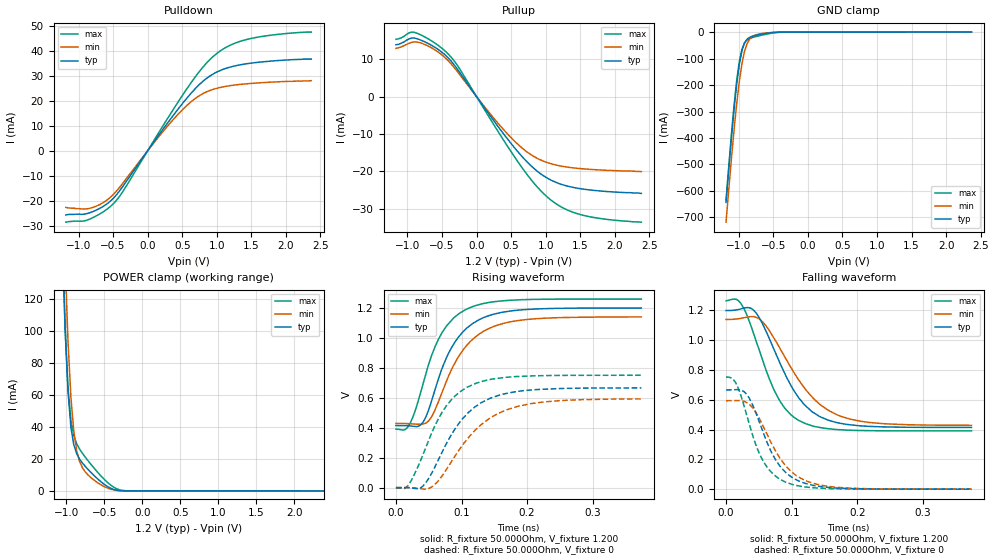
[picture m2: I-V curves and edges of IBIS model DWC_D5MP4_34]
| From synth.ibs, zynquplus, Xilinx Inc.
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[Model] DWC_D5MP4_34
Model_type   I/O
Polarity   Non-Inverting
Enable   Active-High
C_comp   1.540pF   1.512pF   1.579pF
C_comp_pullup   286.528fF   273.011fF   307.670fF
C_comp_pulldown 1.252pF   1.239pF   1.270pF
Vinh = 903.000mV
Vinl = 783.000mV
Vmeas = 843.000mV
Vref = 843.000mV
Rref = 50Ohms
Cref = 0pF
[Model Spec]
Vinh   903.000mV   861.000mV   945.000mV
Vinl   783.000mV   741.000mV   825.000mV
Vmeas   843.000mV   801.000mV   885.000mV
Vref   843.000mV   801.000mV   885.000mV
D_overshoot_ampl_h 0.24 NA   NA
D_overshoot_ampl_l 0.24 NA   NA
D_overshoot_area_l 300.000m NA   NA
D_overshoot_area_h 300.000m NA   NA
[Temperature Range]   25.000   100.000   0.00
[Voltage Range]   1.200V   1.140V   1.260V
[GND Clamp Reference]   0.00V   0.00V   0.00V
[Pulldown Reference]   0.00V   0.00V   0.00V
[POWER Clamp Reference]   1.200V   1.140V   1.260V
[Pullup Reference]   1.200V   1.140V   1.260V
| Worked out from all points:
|   slope of the pulldown table from 0 to 0.18 V, typ, clamps not added: 25.7 ohm
|   slope of the pullup table from 0 to 0.18 V, typ, clamps not added: 38.5 ohm
|   GND clamp passes 1 mA (typ) near -0.48 V on its own axis
|   POWER clamp passes 1 mA (typ) near -0.38 V on its own axis
|   rising waveform, R_fixture 50.000Ohm, V_fixture 1.200: 20-80 % time 49ps typ, 54.3ps min, 45.2ps max; typ from 0.414 V to 1.2 V
|   rising waveform, R_fixture 50.000Ohm, V_fixture 0: 20-80 % time 59.6ps typ, 70.5ps min, 52.7ps max; typ from 0 V to 0.665 V
|   falling waveform, R_fixture 50.000Ohm, V_fixture 1.200: 20-80 % time 55.6ps typ, 67.1ps min, 47.5ps max; typ from 1.2 V to 0.414 V
|   falling waveform, R_fixture 50.000Ohm, V_fixture 0: 20-80 % time 42.6ps typ, 48.6ps min, 37.6ps max; typ from 0.665 V to 0 V
[GND Clamp]
-1.184V   -643.3mA   -718.1mA   -633.9mA
-1.107V   -401.1mA   -479.8mA   -388.8mA
-1.069V   -292.7mA   -371.1mA   -279.6mA
-1.031V   -198mA     -272.6mA   -185.2mA
-992.7mV  -122.3mA   -188mA     -112.1mA
-954.6mV  -70.18mA   -120.5mA   -64.94mA
-916.4mV  -40.53mA   -72.43mA   -40.46mA
-878.2mV  -26.1mA    -42.39mA   -29.31mA
-801.8mV  -15.32mA   -16.62mA   -20.35mA
-649.1mV  -6.653mA   -4.833mA   -10.51mA
-343.6mV  -24.65uA   -26.5uA    -117.7uA
2.367V    135.4uA    116.7uA    159.5uA
[Power Clamp]
-1.167V   437.4mA    483mA      436.8mA
-1.053V   163.3mA    211.2mA    161.1mA
-1.015V   102.3mA    144.2mA    102mA
-976.4mV  62.04mA    93.24mA    64.24mA
-938.2mV  39.75mA    58.39mA    44.15mA
-900mV    28.75mA    37.07mA    34.47mA
-861.8mV  23.16mA    25mA       29.42mA
-823.6mV  19.8mA     18.29mA    26.1mA
-594.5mV  7.811mA    5.326mA    12.03mA
-403.6mV  1.362mA    856.6uA    3.175mA
-250.9mV  26.04uA    29.15uA    171.9uA
2.384V    -67.71uA   -61.29uA   -75.76uA
[Pulldown]
-1.184V   -25.6mA    -22.6mA    -28.5mA
-916.4mV  -25.3mA    -23.22mA   -28.01mA
-801.8mV  -24.37mA   -22.69mA   -26.81mA
-610.9mV  -21.63mA   -20.11mA   -23.76mA
-458.2mV  -17.81mA   -16.3mA    -19.99mA
190.9mV   7.417mA    6.642mA    8.601mA
496.4mV   18.6mA     16.2mA     21.83mA
725.5mV   25.84mA    21.6mA     30.83mA
992.7mV   31.33mA    24.89mA    38.69mA
1.222V    33.63mA    26.12mA    42.5mA
1.489V    34.98mA    26.89mA    44.81mA
2.367V    36.6mA     28mA       47.4mA
[Pullup]
-1.167V   13.9mA     12.91mA    15.34mA
-900mV    15.68mA    14.66mA    17.21mA
-632.7mV  13.55mA    12.87mA    14.7mA
-403.6mV  10.25mA    9.495mA    11.29mA
-250.9mV  6.646mA    6.072mA    7.621mA
207.3mV   -5.378mA   -4.827mA   -6.255mA
550.9mV   -13.72mA   -11.94mA   -16.16mA
818.2mV   -19.01mA   -15.89mA   -22.88mA
1.085V    -22.42mA   -18mA      -27.81mA
1.276V    -23.75mA   -18.75mA   -30.02mA
1.544V    -24.75mA   -19.32mA   -31.76mA
2.384V    -25.9mA    -20.06mA   -33.6mA
[Ramp]
R_load=50.000Ohm
dV/dt_r   435.000mV/55.500ps  390.960mV/63.500ps  485.160mV/50.000ps
dV/dt_f   435.000mV/50.500ps  390.960mV/59.000ps  485.160mV/44.000ps
[Rising waveform]
R_fixture=50.000Ohm
V_fixture=1.200
V_fixture_min=1.140
V_fixture_max=1.260
0s        414.1mV    428.3mV    390.5mV
20ps      412.6mV    426.9mV    417.6mV
41ps      435.1mV    424.2mV    688.7mV
55ps      587.6mV    477.1mV    888.9mV
70ps      791.5mV    632.5mV    1.032V
87ps      950.9mV    808.1mV    1.128V
105ps     1.052V     933.8mV    1.185V
133ps     1.133V     1.042V     1.228V
175ps     1.179V     1.107V     1.25V
374ps     1.199V     1.139V     1.258V
[Rising waveform]
R_fixture=50.000Ohm
V_fixture=0
0s        218.2uV    402.6uV    -183.6uV
18ps      -199.8uV   433.9uV    11.43mV
41ps      9.657mV    -9.341mV   217mV
59ps      133.9mV    19.56mV    409mV
77ps      294.3mV    121.4mV    546.6mV
95ps      423.5mV    243.6mV    629.8mV
119ps     534mV      375.5mV    691.4mV
155ps     613.3mV    493mV      729.4mV
205ps     651.2mV    559.8mV    745.3mV
374ps     665.3mV    591.9mV    749.7mV
[Falling waveform]
R_fixture=50.000Ohm
V_fixture=1.200
V_fixture_min=1.140
V_fixture_max=1.260
0s        1.198V     1.138V     1.263V
22ps      1.208V     1.145V     1.25V
45ps      1.186V     1.154V     1.005V
61ps      1.059V     1.095V     797.7mV
80ps      866.7mV    961.1mV    605.9mV
111ps     611.3mV    730.8mV    460.3mV
142ps     488.6mV    571.9mV    414mV
185ps     433.6mV    474.2mV    396mV
236ps     418.2mV    439.9mV    391.6mV
374ps     413.9mV    428.3mV    390.8mV
[Falling waveform]
R_fixture=50.000Ohm
V_fixture=0
0s        665.4mV    593.1mV    751.9mV
15ps      667.3mV    595.1mV    711.1mV
33ps      626.9mV    577.5mV    473mV
46ps      505.8mV    511mV      290.6mV
58ps      363.3mV    409.7mV    177.7mV
73ps      216.1mV    275.3mV    96.16mV
91ps      111.8mV    155.5mV    46.15mV
118ps     42.34mV    63.54mV    16.26mV
162ps     9.066mV    15.4mV     3.055mV
374ps     -15.55uV   -3.171uV   -8.058uV
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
